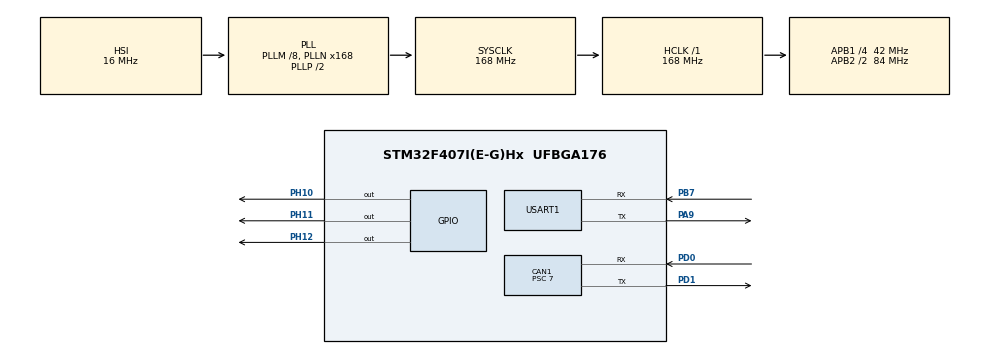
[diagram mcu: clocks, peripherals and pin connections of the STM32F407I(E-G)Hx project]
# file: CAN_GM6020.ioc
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CAN1.ABOM=ENABLE
CAN1.BS1=CAN_BS1_2TQ
CAN1.BS2=CAN_BS2_3TQ
CAN1.CalculateBaudRate=999999
CAN1.CalculateTimeBit=1000
CAN1.CalculateTimeQuantum=166.66666666666669
CAN1.Prescaler=7
CAN1.RFLM=DISABLE
Mcu.Family=STM32F4
Mcu.Name=STM32F407I(E-G)Hx
Mcu.Package=UFBGA176
NVIC.CAN1_RX0_IRQn=true\:0\:0\:false\:false\:true\:true\:true\:true
NVIC.CAN1_RX1_IRQn=true\:0\:0\:false\:false\:true\:true\:true\:true
NVIC.PriorityGroup=NVIC_PRIORITYGROUP_4
NVIC.USART1_IRQn=true\:0\:0\:false\:false\:true\:true\:true\:true
PA13.Mode=Serial_Wire
PA13.Signal=SYS_JTMS-SWDIO
PA14.Mode=Serial_Wire
PA14.Signal=SYS_JTCK-SWCLK
PA9.Mode=Asynchronous
PA9.Signal=USART1_TX
PB7.Mode=Asynchronous
PB7.Signal=USART1_RX
PC14-OSC32_IN.Mode=LSE-External-Oscillator
PC14-OSC32_IN.Signal=RCC_OSC32_IN
PC15-OSC32_OUT.Mode=LSE-External-Oscillator
PC15-OSC32_OUT.Signal=RCC_OSC32_OUT
PD0.Mode=CAN_Activate
PD0.Signal=CAN1_RX
PD1.Mode=CAN_Activate
PD1.Signal=CAN1_TX
PH0-OSC_IN.Mode=HSE-External-Oscillator
PH0-OSC_IN.Signal=RCC_OSC_IN
PH1-OSC_OUT.Mode=HSE-External-Oscillator
PH1-OSC_OUT.Signal=RCC_OSC_OUT
PH10.Signal=GPIO_Output
PH11.Signal=GPIO_Output
PH12.Signal=GPIO_Output
ProjectManager.HeapSize=0x200
ProjectManager.StackSize=0x400
ProjectManager.TargetToolchain=STM32CubeIDE
RCC.48MHZClocksFreq_Value=84000000
RCC.AHBFreq_Value=168000000
RCC.APB1CLKDivider=RCC_HCLK_DIV4
RCC.APB1Freq_Value=42000000
RCC.APB1TimFreq_Value=84000000
RCC.APB2CLKDivider=RCC_HCLK_DIV2
RCC.APB2Freq_Value=84000000
RCC.APB2TimFreq_Value=168000000
RCC.CortexFreq_Value=168000000
RCC.HCLKFreq_Value=168000000
RCC.HSE_VALUE=25000000
RCC.HSI_VALUE=16000000
RCC.PLLM=8
RCC.PLLN=168
RCC.SYSCLKFreq_VALUE=168000000
RCC.SYSCLKSource=RCC_SYSCLKSOURCE_PLLCLK
RCC.VCOOutputFreq_Value=336000000
USART1.VirtualMode=VM_ASYNC
board=custom

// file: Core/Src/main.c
/* USER CODE BEGIN Header */
/**
  ******************************************************************************
  * @file           : main.c
  * @brief          : Main program body
  ******************************************************************************
  * @attention
  *
  * Copyright (c) 2024 STMicroelectronics.
  * All rights reserved.
  *
  * This software is licensed under terms that can be found in the LICENSE file
  * in the root directory of this software component.
  * If no LICENSE file comes with this software, it is provided AS-IS.
  *
  ******************************************************************************
  */
/* USER CODE END Header */
#include "main.h"
#include "can.h"
#include "usart.h"
#include "gpio.h"

/* USER CODE BEGIN Includes */
#include "pid.h"
#include "motor_can.h"
/* USER CODE END Includes */

/* USER CODE BEGIN PD */
#define pi 3.1415
/* USER CODE END PD */

/* USER CODE BEGIN PV */
int16_t led_cnt;
int16_t text_speed = 0;
int16_t target_yaw_speed;
float target_yaw_angle = 90;	//设定电机角度0~360°，90°对应串口发送0x00,0x08（2048）
float now_yaw_angle1, now_yaw_angle2 = 0;		//当前电机反馈角度
extern moto_info_t motor_yaw_info1, motor_yaw_info2;		//电机结构体
extern pid_struct_t gimbal_yaw_speed_pid1, gimbal_yaw_speed_pid2;//电机速度PID
extern pid_struct_t gimbal_yaw_angle_pid1, gimbal_yaw_angle_pid2;//电机角度PID

char message[] = "Hello World";
uint8_t receiveData = 0;

//测试CAN接收功能使用
CAN_RxHeaderTypeDef test_header;
uint8_t             test_data[8] = {0};

//uint16_t can_cnt;

/* USER CODE END PV */

void SystemClock_Config(void);
/* USER CODE BEGIN PFP */

/* 函数：单位映射函数
 * 作用：将编码器的值转换为弧度制的角度值
 * 参数x：需要转换的值
 * 参数in：编码器的角度范围，参考0~8191
 * 参数out：计算的角度范围，参考0~360°
 */
double msp(double x, double in_min, double in_max, double out_min, double out_max)
{
	return (x-in_min)*(out_max-out_min)/(in_max-in_min)+out_min;
}

/* USER CODE END PFP */

/* USER CODE BEGIN 0 */
void HAL_UART_RxCpltCallback(UART_HandleTypeDef *huart)
{
    if(huart->Instance == USART1)
    {
    	target_yaw_angle = receiveData;	//串口通信数据类型是uint，数据只能是正整数

    	HAL_UART_Transmit(&huart1, &receiveData, 3, 100);	//接收后反馈发送
        HAL_UART_Receive_IT(&huart1, &receiveData, 3);		//再次开启接收中断
    }
}

/* USER CODE END 0 */

int main(void)
{

  /* MCU Configuration--------------------------------------------------------*/

  /* Reset of all peripherals, Initializes the Flash interface and the Systick. */
  HAL_Init();

  /* Configure the system clock */
  SystemClock_Config();

  /* Initialize all configured peripherals */
  MX_GPIO_Init();
  MX_CAN1_Init();
  MX_USART1_UART_Init();
  /* USER CODE BEGIN 2 */
//  HAL_UART_Receive_IT(&huart1, &receiveData, 3);	//开启串口中断接收，接收两位正数数据作为设定角度
  can_filter_init();//can初始化
  gimbal_PID_init();//PID初始化，在此函数里预设PID的参数

  /* USER CODE END 2 */

  /* Infinite loop */
  while (1)
  {

    /* USER CODE BEGIN 3 */

	//0、闪烁小灯，检测程序是否正常循环
	led_cnt ++;
	if (led_cnt == 50)
	{
	  	led_cnt = 0;
	    HAL_GPIO_TogglePin(GPIOH,GPIO_PIN_10);
	}

	//PID控制
	//1、计算当前的编码器角度值，运用msp函数将编码器的值映射为弧度制
	now_yaw_angle1=msp(motor_yaw_info1.rotor_angle,0,8191,0,360);
	now_yaw_angle2=msp(motor_yaw_info2.rotor_angle,0,8191,0,360);
	//2、角度环，设定角度target_yaw_angle，通过角度差计算出需要的pid速度
	pid_calc(&gimbal_yaw_angle_pid1, target_yaw_angle, now_yaw_angle1);
	pid_calc(&gimbal_yaw_angle_pid2, target_yaw_angle, now_yaw_angle2);
	//3、速度环，设定速度为角度环计算的速度，通过速度差计算更新输出pid值
	pid_calc(&gimbal_yaw_speed_pid1, gimbal_yaw_angle_pid1.output, motor_yaw_info1.rotor_speed);
	pid_calc(&gimbal_yaw_speed_pid2, gimbal_yaw_angle_pid2.output, motor_yaw_info2.rotor_speed);
	//4、向发送PID计算后更新的电压值
	set_GM6020_motor_voltage(&hcan1,gimbal_yaw_speed_pid1.output,gimbal_yaw_speed_pid2.output);
	//5、串口发送电机反馈的机械角度
	HAL_UART_Transmit(&huart1, &motor_yaw_info1.rotor_angle, 2, 100);
	HAL_UART_Transmit(&huart1, &motor_yaw_info2.rotor_angle, 2, 100);
	//6、延时
	HAL_Delay(200);

	 	 //CAN接收功能测试
//		HAL_CAN_GetRxMessage(&hcan1, CAN_RX_FIFO0, &test_header, test_data);	//自带接收函数，接受fifo0的数据拼接入test_header中
//
//		switch(test_header.StdId)
//				{
//			  	  	//ID6的电机反馈报文标识符为0x206
//					case 0x206:
//					{	//拼接电机参数
//						motor_yaw_info2.rotor_angle    = ((test_data[0] << 8) | test_data[1]);//角度，角度值范围：0 ~ 8191
//						motor_yaw_info2.rotor_speed    = ((test_data[2] << 8) | test_data[3]);//速度，转速值单位：rpm
//						motor_yaw_info2.torque_current = ((test_data[4] << 8) | test_data[5]);//转矩电流
//						motor_yaw_info2.temperate      =   test_data[6];					 //温度
//						break;
//					}
//				}
//
//		HAL_UART_Transmit(&huart1, &motor_yaw_info1.rotor_angle, 2, 100);
//		HAL_UART_Transmit(&huart1, &motor_yaw_info2.rotor_angle, 2, 100);
//		HAL_Delay(500);

  }
  /* USER CODE END 3 */
}

void SystemClock_Config(void)
{
  RCC_OscInitTypeDef RCC_OscInitStruct = {0};
  RCC_ClkInitTypeDef RCC_ClkInitStruct = {0};

  /** Configure the main internal regulator output voltage
  */
  __HAL_RCC_PWR_CLK_ENABLE();
  __HAL_PWR_VOLTAGESCALING_CONFIG(PWR_REGULATOR_VOLTAGE_SCALE1);

  /** Initializes the RCC Oscillators according to the specified parameters
  * in the RCC_OscInitTypeDef structure.
  */
  RCC_OscInitStruct.OscillatorType = RCC_OSCILLATORTYPE_HSI;
  RCC_OscInitStruct.HSIState = RCC_HSI_ON;
  RCC_OscInitStruct.HSICalibrationValue = RCC_HSICALIBRATION_DEFAULT;
  RCC_OscInitStruct.PLL.PLLState = RCC_PLL_ON;
  RCC_OscInitStruct.PLL.PLLSource = RCC_PLLSOURCE_HSI;
  RCC_OscInitStruct.PLL.PLLM = 8;
  RCC_OscInitStruct.PLL.PLLN = 168;
  RCC_OscInitStruct.PLL.PLLP = RCC_PLLP_DIV2;
  RCC_OscInitStruct.PLL.PLLQ = 4;
  if (HAL_RCC_OscConfig(&RCC_OscInitStruct) != HAL_OK)
  {
    Error_Handler();
  }

  /** Initializes the CPU, AHB and APB buses clocks
  */
  RCC_ClkInitStruct.ClockType = RCC_CLOCKTYPE_HCLK|RCC_CLOCKTYPE_SYSCLK
                              |RCC_CLOCKTYPE_PCLK1|RCC_CLOCKTYPE_PCLK2;
  RCC_ClkInitStruct.SYSCLKSource = RCC_SYSCLKSOURCE_PLLCLK;
  RCC_ClkInitStruct.AHBCLKDivider = RCC_SYSCLK_DIV1;
  RCC_ClkInitStruct.APB1CLKDivider = RCC_HCLK_DIV4;
  RCC_ClkInitStruct.APB2CLKDivider = RCC_HCLK_DIV2;

  if (HAL_RCC_ClockConfig(&RCC_ClkInitStruct, FLASH_LATENCY_5) != HAL_OK)
  {
    Error_Handler();
  }
}

void Error_Handler(void)
{
  __disable_irq();
  while (1)
  {
  }
}
